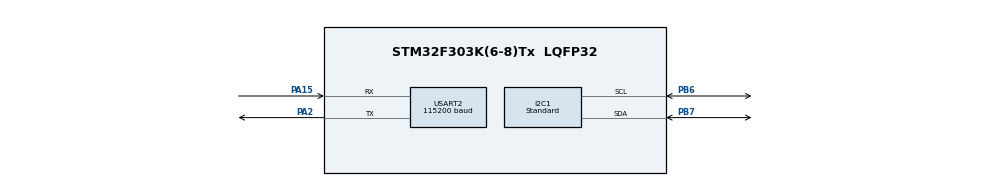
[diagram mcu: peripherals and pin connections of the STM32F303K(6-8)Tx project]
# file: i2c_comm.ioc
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I2C1.I2C_Speed_Mode=I2C_Standard
I2C1.OwnAddress=1
Mcu.Family=STM32F3
Mcu.Name=STM32F303K(6-8)Tx
Mcu.Package=LQFP32
NVIC.I2C1_EV_IRQn=true\:0\:0\:false\:false\:true\:true\:true\:true
NVIC.PriorityGroup=NVIC_PRIORITYGROUP_4
PA15.Mode=Asynchronous
PA15.Signal=USART2_RX
PA2.Mode=Asynchronous
PA2.Signal=USART2_TX
PB6.Mode=I2C
PB6.Signal=I2C1_SCL
PB7.Mode=I2C
PB7.Signal=I2C1_SDA
ProjectManager.HeapSize=0x200
ProjectManager.StackSize=0x400
ProjectManager.TargetToolchain=STM32CubeIDE
RCC.AHBFreq_Value=8000000
RCC.APB1Freq_Value=8000000
RCC.APB2Freq_Value=8000000
RCC.CortexFreq_Value=8000000
RCC.HSE_VALUE=8000000
RCC.HSI_VALUE=8000000
RCC.SYSCLKFreq_VALUE=8000000
USART2.BaudRate=115200
USART2.VirtualMode-Asynchronous=VM_ASYNC
board=custom

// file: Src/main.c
/* USER CODE BEGIN Header */
/**
  ******************************************************************************
  * @file           : main.c
  * @brief          : Main program body
  ******************************************************************************
  * @attention
  *
  * <h2><center>&copy; Copyright (c) 2019 STMicroelectronics.
  * All rights reserved.</center></h2>
  *
  * This software component is licensed by ST under BSD 3-Clause license,
  * the "License"; You may not use this file except in compliance with the
  * License. You may obtain a copy of the License at:
  *                        opensource.org/licenses/BSD-3-Clause
  *
  ******************************************************************************
  */
/* USER CODE END Header */

#include "main.h"
#include "i2c.h"
#include "usart.h"
#include "gpio.h"

/* USER CODE BEGIN Includes */
#include "hts221.h"
#include "lps22hb.h"
#include <stdio.h>
/* USER CODE END Includes */

/* USER CODE BEGIN PV */
static HTS221 humidity_sensor;
static LPS22HB pressure_sensor;
static const SensorBus sensor_bus = { I2C_ReadRegisters, I2C_WriteRegisters, LL_mDelay };
static int sensors_ready;
static float reference_pressure;
static char uart_line[128];
/* USER CODE END PV */

void SystemClock_Config(void);

int main(void)
{

  /* MCU Configuration--------------------------------------------------------*/

  /* Reset of all peripherals, Initializes the Flash interface and the Systick. */

  LL_APB2_GRP1_EnableClock(LL_APB2_GRP1_PERIPH_SYSCFG);
  LL_APB1_GRP1_EnableClock(LL_APB1_GRP1_PERIPH_PWR);

  NVIC_SetPriorityGrouping(NVIC_PRIORITYGROUP_4);

  /* System interrupt init*/

  /* Configure the system clock */
  SystemClock_Config();

  /* Initialize all configured peripherals */
  MX_GPIO_Init();
  MX_I2C1_Init();
  MX_USART2_UART_Init();
  /* USER CODE BEGIN 2 */
  LL_I2C_Enable(I2C1);
  LL_mDelay(100);
  UART_SendString("# HTS221 + LPS22HB: temperature[C],humidity[%],pressure[hPa],height[m]\r\n");
  /* USER CODE END 2 */

  /* Infinite loop */
  while (1)
  {

    /* USER CODE BEGIN 3 */
    if (!sensors_ready) {
        int h = HTS221_Init(&humidity_sensor, &sensor_bus);
        int p = LPS22HB_Init(&pressure_sensor, &sensor_bus);
        if (h || p) {
            snprintf(uart_line, sizeof(uart_line), "# INIT ERROR HTS221=%d LPS22HB=%d\r\n", h, p);
            UART_SendString(uart_line);
            LL_mDelay(1000);
            continue;
        }
        sensors_ready = 1;
        reference_pressure = 0;
        UART_SendString("# Sensors detected. Height zero is the first valid pressure.\r\n");
    }
    float temperature, humidity, pressure;
    int h = HTS221_Measure(&humidity_sensor);
    if (!h) h = HTS221_ReadTemperature(&humidity_sensor, &temperature);
    if (!h) h = HTS221_ReadHumidity(&humidity_sensor, &humidity);
    int p = LPS22HB_ReadPressure(&pressure_sensor, &pressure);
    if (h || p) {
        snprintf(uart_line, sizeof(uart_line), "# READ ERROR HTS221=%d LPS22HB=%d\r\n", h, p);
        UART_SendString(uart_line);
        sensors_ready = 0;
    } else {
        if (reference_pressure == 0) reference_pressure = pressure;
        float height = LPS22HB_RelativeHeight(pressure, reference_pressure);
        snprintf(uart_line, sizeof(uart_line), "%.1f,%.0f,%.2f,%.2f\r\n",
                 (double)temperature, (double)humidity, (double)pressure, (double)height);
        UART_SendString(uart_line);
    }
    LL_mDelay(1000);
  }
  /* USER CODE END 3 */
}

void SystemClock_Config(void)
{
  LL_FLASH_SetLatency(LL_FLASH_LATENCY_0);

  if(LL_FLASH_GetLatency() != LL_FLASH_LATENCY_0)
  {
  Error_Handler();
  }
  LL_RCC_HSI_Enable();

   /* Wait till HSI is ready */
  while(LL_RCC_HSI_IsReady() != 1)
  {

  }
  LL_RCC_HSI_SetCalibTrimming(16);
  LL_RCC_SetAHBPrescaler(LL_RCC_SYSCLK_DIV_1);
  LL_RCC_SetAPB1Prescaler(LL_RCC_APB1_DIV_1);
  LL_RCC_SetAPB2Prescaler(LL_RCC_APB1_DIV_1);
  LL_RCC_SetSysClkSource(LL_RCC_SYS_CLKSOURCE_HSI);

   /* Wait till System clock is ready */
  while(LL_RCC_GetSysClkSource() != LL_RCC_SYS_CLKSOURCE_STATUS_HSI)
  {

  }
  LL_Init1msTick(8000000);
  LL_SYSTICK_SetClkSource(LL_SYSTICK_CLKSOURCE_HCLK);
  LL_SetSystemCoreClock(8000000);
  LL_RCC_SetI2CClockSource(LL_RCC_I2C1_CLKSOURCE_HSI);
}

void Error_Handler(void)
{
}

/************************ (C) COPYRIGHT STMicroelectronics *****END OF FILE****/
